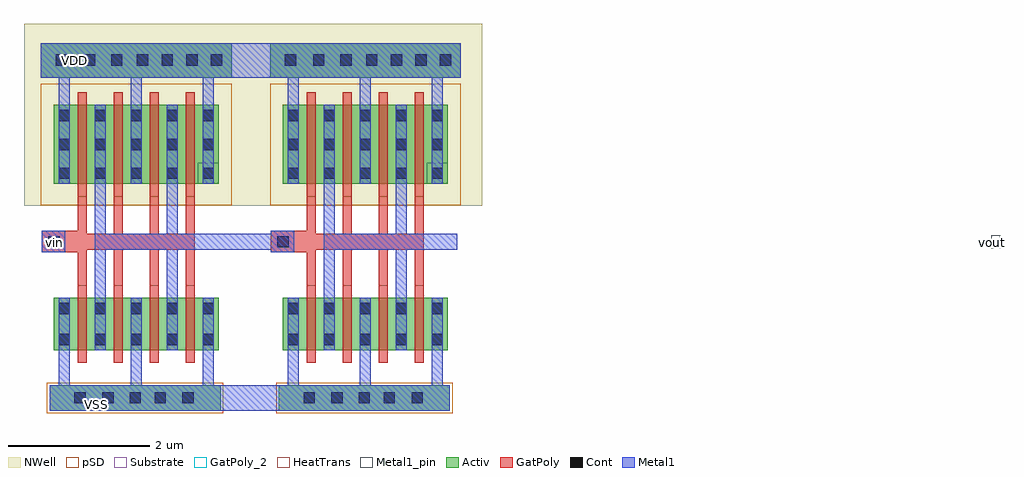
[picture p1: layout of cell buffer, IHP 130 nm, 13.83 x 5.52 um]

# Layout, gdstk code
import gdstk
lib = gdstk.Library(unit=1e-6, precision=1e-09)
def R(c, l, rs):  # rectangles x0, y0, x1, y1
    for r in rs: c.add(gdstk.rectangle(r[:2], r[2:], *l))
def A(c, l, x, y, w, h, nx, ny, dx, dy):  # array of equal rectangles
    R(c, l, [(x+i*dx, y+j*dy, x+i*dx+w, y+j*dy+h) for i in range(nx) for j in range(ny)])
def P(c, l, *ps):  # polygons
    for p in ps: c.add(gdstk.Polygon(p, *l))
Activ = (1, 0)
GatPoly = (5, 0)
GatPoly_2 = (5, 2)
Cont = (6, 0)
Metal1 = (8, 0)
Metal1_pin = (8, 2)
pSD = (14, 0)
NWell = (31, 0)
Substrate = (40, 0)
HeatTrans = (51, 0)

pmos_1_2 = lib.new_cell('pmos$1$2')
A(pmos_1_2, Activ, 0, 0, 0.3, 0.3, 5, 1, 0.51, 0)
R(pmos_1_2, Activ, [(0,0,2.34,1.12)])
A(pmos_1_2, GatPoly, 0.34, -0.18, 0.13, 1.48, 4, 1, 0.51, 0)
R(pmos_1_2, GatPoly, [(0.34,-0.18,0.47,1.3)])
A(pmos_1_2, Cont, 0.07, 0.07, 0.16, 0.16, 5, 3, 0.51, 0.41)
A(pmos_1_2, Metal1, 0.58, 0, 0.16, 1.12, 4, 1, 0.51, 0)
R(pmos_1_2, Metal1, [(0.07,0,0.23,1.12), (0.07,0,0.23,1.12), (0.58,0,0.74,1.12)])
R(pmos_1_2, pSD, [(-0.18,-0.3,2.52,1.42)])
R(pmos_1_2, NWell, [(-0.31,-0.31,2.65,1.43)])
R(pmos_1_2, Substrate, [(2.04,0,2.34,0.3)])
A(pmos_1_2, HeatTrans, 0.34, -0.18, 0.13, 1.48, 4, 1, 0.51, 0)
pmos_1_2.add(gdstk.Label('pmos', (0.405,0.56), layer=63, texttype=0))
pmos_1_2.add(gdstk.Label('pmos', (1.935,0.56), layer=51, texttype=0))
pmos_1_2.add(gdstk.Label('pmos', (1.425,0.56), layer=51, texttype=0))
pmos_1_2.add(gdstk.Label('pmos', (0.915,0.56), layer=51, texttype=0))
pmos_1_2.add(gdstk.Label('pmos', (0.405,0.56), layer=51, texttype=0))

nmos_1_2 = lib.new_cell('nmos$1$2')
A(nmos_1_2, Activ, 0, 0, 0.3, 0.3, 5, 1, 0.51, 0)
R(nmos_1_2, Activ, [(0,0,2.34,0.74)])
A(nmos_1_2, GatPoly, 0.34, -0.18, 0.13, 1.1, 4, 1, 0.51, 0)
R(nmos_1_2, GatPoly_2, [(0.34,-0.18,0.47,0.92)])
A(nmos_1_2, Cont, 0.07, 0.07, 0.16, 0.16, 5, 2, 0.51, 0.44)
A(nmos_1_2, Metal1, 0.07, 0, 0.16, 0.74, 5, 1, 0.51, 0)
R(nmos_1_2, Metal1_pin, [(0.07,0,0.23,0.74), (0.58,0,0.74,0.74)])
A(nmos_1_2, HeatTrans, 0.34, -0.18, 0.13, 1.1, 4, 1, 0.51, 0)
nmos_1_2.add(gdstk.Label('nmos', (0.405,0.37), layer=63, texttype=0))
nmos_1_2.add(gdstk.Label('nmos', (1.935,0.37), layer=51, texttype=0))
nmos_1_2.add(gdstk.Label('nmos', (1.425,0.37), layer=51, texttype=0))
nmos_1_2.add(gdstk.Label('nmos', (0.915,0.37), layer=51, texttype=0))
nmos_1_2.add(gdstk.Label('nmos', (0.405,0.37), layer=51, texttype=0))

buffer = lib.new_cell('buffer')
R(buffer, Activ, [(-1.535,-11.835,0.885,-11.47), (1.71,-11.835,4.13,-11.47), (-1.66,-7.115,1.04,-6.63), (1.585,-7.115,4.285,-6.63)])
R(buffer, GatPoly, [(-1.65,-9.59,-1.13,-9.285), (1.595,-9.59,2.115,-9.285), (-1.65,-9.575,-1.13,-9.285), (1.595,-9.575,2.115,-9.285)])
P(buffer, GatPoly, [(-0.12,-10.155),(-0.12,-9.555),(-0.5,-9.555),(-0.5,-10.105),(-0.63,-10.105),(-0.63,-9.555),(-1.01,-9.555),(-1.01,-10.105),(-1.14,-10.105),(-1.14,-9.555),(-1.6,-9.555),(-1.6,-9.325),(-1.14,-9.325),(-1.14,-8.725),(-1.01,-8.725),(-1.01,-9.325),(-0.63,-9.325),(-0.63,-8.75),(-0.5,-8.75),(-0.5,-9.325),(-0.12,-9.325),(-0.12,-8.725),(0.01,-8.725),(0.01,-9.325),(0.39,-9.325),(0.39,-8.71),(0.52,-8.71),(0.52,-10.155),(0.39,-10.155),(0.39,-9.555),(0.01,-9.555),(0.01,-10.155)],
  [(3.125,-10.155),(3.125,-9.555),(2.745,-9.555),(2.745,-10.105),(2.615,-10.105),(2.615,-9.555),(2.235,-9.555),(2.235,-10.105),(2.105,-10.105),(2.105,-9.555),(1.645,-9.555),(1.645,-9.325),(2.105,-9.325),(2.105,-8.725),(2.235,-8.725),(2.235,-9.325),(2.615,-9.325),(2.615,-8.75),(2.745,-8.75),(2.745,-9.325),(3.125,-9.325),(3.125,-8.725),(3.255,-8.725),(3.255,-9.325),(3.635,-9.325),(3.635,-8.71),(3.765,-8.71),(3.765,-10.155),(3.635,-10.155),(3.635,-9.555),(3.255,-9.555),(3.255,-10.155)])
A(buffer, Cont, -0.3, -6.945, 0.16, 0.16, 3, 1, 0.35, 0)
A(buffer, Cont, 2.945, -6.945, 0.16, 0.16, 3, 1, 0.35, 0)
R(buffer, Cont, [(-1.185,-11.73,-1.025,-11.57), (-0.79,-11.73,-0.63,-11.57), (-0.405,-11.73,-0.245,-11.57), (-0.05,-11.73,0.11,-11.57), (0.345,-11.73,0.505,-11.57), (2.06,-11.73,2.22,-11.57), (2.455,-11.73,2.615,-11.57), (2.84,-11.73,3,-11.57), (3.195,-11.73,3.355,-11.57), (3.59,-11.73,3.75,-11.57), (-1.555,-9.52,-1.395,-9.36), (1.69,-9.52,1.85,-9.36), (-1.45,-6.945,-1.29,-6.785), (-1.05,-6.945,-0.89,-6.785), (-0.665,-6.945,-0.505,-6.785), (0.745,-6.945,0.905,-6.785), (1.795,-6.945,1.955,-6.785), (2.195,-6.945,2.355,-6.785), (2.58,-6.945,2.74,-6.785), (3.99,-6.945,4.15,-6.785)])
A(buffer, Metal1, -1.41, -11.835, 0.16, 1.09, 3, 1, 1.02, 0)
A(buffer, Metal1, 1.835, -11.835, 0.16, 1.09, 3, 1, 1.02, 0)
A(buffer, Metal1, -1.41, -7.57, 0.16, 0.575, 3, 1, 1.02, 0)
A(buffer, Metal1, 1.835, -7.57, 0.16, 0.575, 3, 1, 1.02, 0)
R(buffer, Metal1, [(-1.535,-11.835,0.885,-11.47), (0.63,-11.835,1.995,-11.47), (1.71,-11.835,4.13,-11.47), (-0.9,-10.305,-0.74,-8.55), (0.12,-10.305,0.28,-8.55), (2.345,-10.305,2.505,-8.55), (3.365,-10.305,3.525,-8.55), (-1.65,-9.59,-1.315,-9.285), (1.595,-9.59,1.93,-9.285), (-0.9,-9.555,0.28,-9.325), (0.12,-9.555,0.99,-9.325), (0.85,-9.555,1.795,-9.325), (2.345,-9.555,3.525,-9.325), (3.365,-9.555,4.235,-9.325), (-1.66,-7.115,1.04,-6.63), (0.975,-7.115,1.65,-6.63), (1.585,-7.115,4.285,-6.63)])
R(buffer, Metal1_pin, [(11.8,-9.53,11.925,-9.35), (-1.555,-9.52,-1.395,-9.36)])
R(buffer, pSD, [(-1.575,-11.87,0.925,-11.44), (1.67,-11.87,4.17,-11.44)])
R(buffer, NWell, [(-1.9,-8.93,1.345,-6.35), (1.345,-8.93,4.59,-6.35)])
buffer.add(gdstk.Reference(pmos_1_2, (-1.48,-8.62)))
buffer.add(gdstk.Reference(nmos_1_2, (-1.48,-10.975)))
buffer.add(gdstk.Reference(pmos_1_2, (1.765,-8.62)))
buffer.add(gdstk.Reference(nmos_1_2, (1.765,-10.975)))
buffer.add(gdstk.Label('vin', (-1.47,-9.455), layer=8, texttype=25))
buffer.add(gdstk.Label('VSS', (-0.875,-11.74), layer=8, texttype=25))
buffer.add(gdstk.Label('VDD', (-1.19,-6.87), layer=8, texttype=25))
buffer.add(gdstk.Label('vout', (11.825,-9.455), layer=8, texttype=25))

lib.write_gds('buffer.gds')
